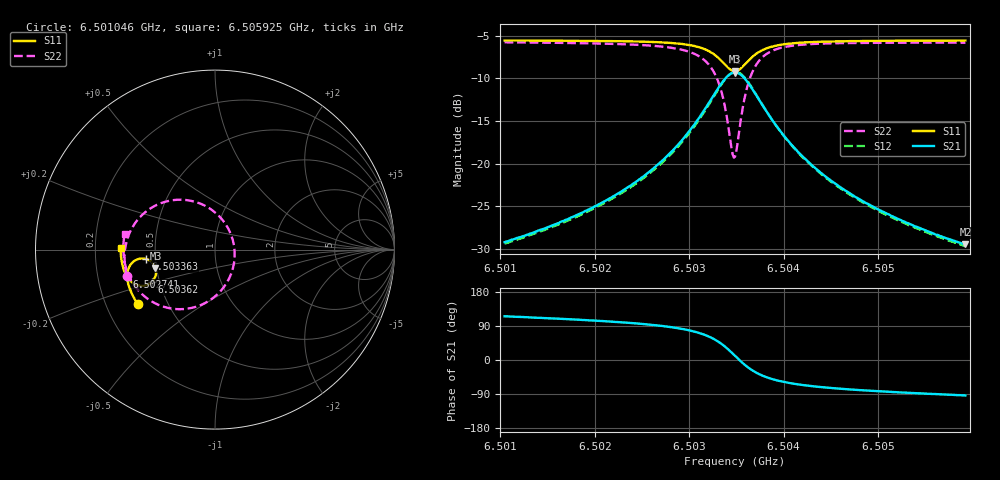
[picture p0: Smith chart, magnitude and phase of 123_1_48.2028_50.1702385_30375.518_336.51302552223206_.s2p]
#  HZ  S  RI  R  50.00
! Rohde & Schwarz Vector Network Analyzer
! Rohde-Schwarz,ZNB20-2Port,1311601062101988,3.16
! Created: UTC 3/20/2024, 11:41:35 AM
! freq[Hz]  re:S11  im:S11  re:S21  im:S21  re:S12  im:S12  re:S22  im:S22
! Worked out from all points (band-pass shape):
!   401 points, 6.501046 GHz to 6.505925 GHz, reference 50 ohm
!   highest |S21| = -9.33 dB at 6.503485 GHz (marker M1); lowest = -29.5 dB at 6.505925 GHz (marker M2)
!   |S21| within 3 dB of the highest: 6.503241 GHz to 6.503729 GHz (488.9 kHz wide, 0.00752 % of centre)
!   lowest |S11| = -9.2 dB at 6.503485 GHz (marker M3), VSWR 2.06, Z = 24.6 - j5.81 ohm
!   |S11| at or under -10 dB: nowhere
!   |S22| runs from -19.3 to -5.8 dB; largest |S21 - S12| = 0.012
!   S11 on the Smith chart (normalised r, x): 6.501046 GHz: 0.34, -0.28; 6.502741 GHz: 0.33, -0.13; 6.503363 GHz: 0.44, -0.05; 6.50362 GHz: 0.45, -0.19; 6.505925 GHz: 0.31, +0.01
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6.5010459e9  -0.4307 -0.3029  -0.0148 0.0312  -0.0131 0.0313  -0.4928 -0.1446
6.5018632e9  -0.4651 -0.2416  -0.0139 0.0495  -0.0117 0.049  -0.5043 -0.0559
6.5022901e9  -0.4799 -0.2032  -0.0113 0.0679  -0.00813 0.067  -0.5005 0.00613
6.5026804e9  -0.4888 -0.1594  -0.0013 0.0999  0.00242 0.0974  -0.4788 0.086
6.5027414e9  -0.4893 -0.1511  0.00198 0.1072  0.00578 0.1044  -0.4716 0.1023
6.5029609e9  -0.4855 -0.1159  0.0244 0.1429  0.028 0.1384  -0.4249 0.1736
6.5031195e9  -0.4706 -0.0838  0.0642 0.1791  0.0671 0.1731  -0.3471 0.2372
6.5032658e9  -0.4324 -0.0541  0.1469 0.2078  0.1477 0.2015  -0.1962 0.2781
6.5033146e9  -0.4109 -0.0494  0.19 0.2062  0.1899 0.2004  -0.1209 0.2689
6.5033634e9  -0.3853 -0.0516  0.2392 0.1907  0.2394 0.1858  -0.0363 0.2337
6.5034488e9  -0.3425 -0.0811  0.3178 0.115  0.3203 0.1105  0.0891 0.0841
6.5034854e9  -0.3315 -0.1036  0.3352 0.0659  0.3389 0.0601  0.1093 -0.00841
6.5035098e9  -0.3287 -0.1199  0.3384 0.0308  0.3425 0.0238  0.1064 -0.0725
6.5035464e9  -0.3309 -0.1441  0.3308 -0.0197  0.3343 -0.0288  0.0782 -0.1619
6.5036196e9  -0.3535 -0.1813  0.2836 -0.0963  0.2834 -0.1079  -0.0334 -0.2854
6.5037171e9  -0.3945 -0.2009  0.2047 -0.1396  0.1997 -0.1499  -0.1942 -0.332
6.5038757e9  -0.444 -0.1934  0.1162 -0.1389  0.1089 -0.1445  -0.3552 -0.2872
6.5040465e9  -0.4731 -0.1721  0.068 -0.1179  0.0613 -0.1204  -0.4337 -0.2194
6.5043026e9  -0.4957 -0.1408  0.0349 -0.0911  0.0298 -0.0916  -0.4816 -0.1412
6.5046685e9  -0.5113 -0.102  0.0154 -0.067  0.0119 -0.0665  -0.5045 -0.0652
6.5051198e9  -0.5208 -0.0595  0.00532 -0.0498  0.00284 -0.049  -0.5108 0.000673
6.5059248e9  -0.5261 0.00911  -0.00214 -0.0335  -0.00334 -0.0326  -0.5033 0.0877
